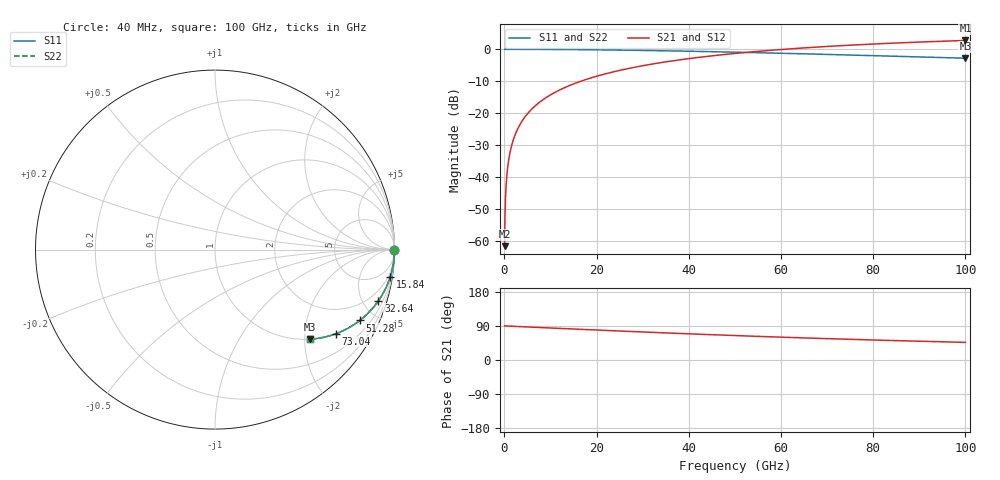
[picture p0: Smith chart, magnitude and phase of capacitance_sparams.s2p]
! Created with skrf (http://scikit-rf.org).
# Hz S MA R 50.0
!freq magS11 angS11 magS21 angS21 magS12 angS12 magS22 angS22
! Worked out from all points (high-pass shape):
!   2500 points, 40 MHz to 100 GHz, reference 50 ohm
!   highest |S21| = 2.77 dB at 100 GHz (marker M1); lowest = -61.5 dB at 40 MHz (marker M2)
!   |S21| within 3 dB of the highest: 58.49 GHz to end of sweep
!   lowest |S11| = -2.8 dB at 100 GHz (marker M3), VSWR 6.29, Z = 50 - j106 ohm
!   |S11| at or under -10 dB: nowhere
!   |S22| runs from -2.8 to 0.0 dB; largest |S21 - S12| = 0
!   S11 on the Smith chart (normalised r, x): 40 MHz: open; 15.84 GHz: 1, -13; 32.64 GHz: 1.00, -6.38; 51.28 GHz: 1.00, -4.08; 73.04 GHz: 1.00, -2.88; 100 GHz: 1.00, -2.11
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4e7  1 -0.0  0.0008369 90.0  0.0008369 90.0  1 -0.0
6e8  1 -0.3  0.01214 89.7  0.01214 89.7  1 -0.3
7.6e8  1 -0.4  0.01533 89.6  0.01533 89.6  1 -0.4
1e9  0.9999 -0.6  0.02009 89.4  0.02009 89.4  0.9999 -0.6
1.36e9  0.9999 -0.8  0.02722 89.2  0.02722 89.2  0.9999 -0.8
1.84e9  0.9998 -1.1  0.03668 88.9  0.03668 88.9  0.9998 -1.1
2.44e9  0.9997 -1.4  0.04846 88.6  0.04846 88.6  0.9997 -1.4
3.16e9  0.9995 -1.8  0.06254 88.2  0.06254 88.2  0.9995 -1.8
5.16e9  0.9987 -2.9  0.1014 87.1  0.1014 87.1  0.9987 -2.9
7.88e9  0.997 -4.4  0.1537 85.6  0.1537 85.6  0.997 -4.4
1.14e10  0.9939 -6.3  0.2206 83.7  0.2206 83.7  0.9939 -6.3
1.584e10  0.9884 -8.7  0.3035 81.3  0.3035 81.3  0.9884 -8.7
1.672e10  0.9871 -9.2  0.3197 80.8  0.3197 80.8  0.9871 -9.2
2.384e10  0.9746 -12.9  0.448 77.1  0.448 77.1  0.9746 -12.9
3.264e10  0.9542 -17.4  0.5982 72.6  0.5982 72.6  0.9542 -17.4
3.336e10  0.9524 -17.8  0.61 72.2  0.61 72.2  0.9524 -17.8
5.004e10  0.9023 -25.5  0.8624 64.5  0.8624 64.5  0.9023 -25.5
5.128e10  0.8981 -26.1  0.8795 63.9  0.8795 63.9  0.8981 -26.1
6.668e10  0.8443 -32.4  1.072 57.6  1.072 57.6  0.8443 -32.4
7.304e10  0.8213 -34.8  1.141 55.2  1.141 55.2  0.8213 -34.8
8.336e10  0.7841 -38.4  1.241 51.6  1.241 51.6  0.7841 -38.4
1e11  0.7258 -43.5  1.376 46.5  1.376 46.5  0.7258 -43.5
